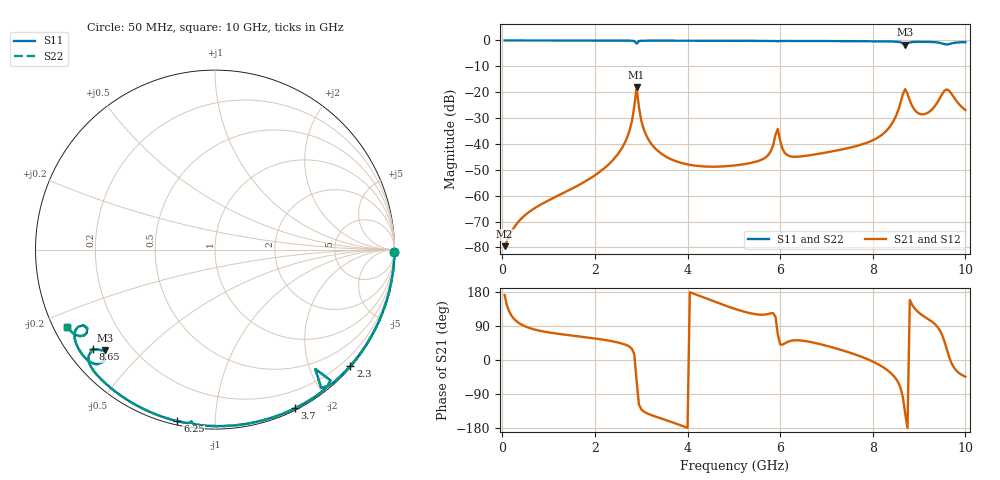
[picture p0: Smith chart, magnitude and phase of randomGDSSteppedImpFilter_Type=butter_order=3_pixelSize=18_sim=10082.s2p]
! freq	dB(S11)	phase(S11)	dB(S12)	phase(S12)
!  dB(S21)	phase(S21)	dB(S22)	phase(S22)
!S-par simulation data
#  GHz  S  DB  R 50
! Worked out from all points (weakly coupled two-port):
!   200 points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, 50 MHz to 10 GHz, reference 50 ohm
!   highest |S21| = -18.17 dB at 2.9 GHz (marker M1); lowest = -79.5 dB at 50 MHz (marker M2)
!   lowest |S11| = -1.6 dB at 8.7 GHz (marker M3), VSWR 10.93, Z = 5.26 - j19.2 ohm
!   |S11| at or under -10 dB: nowhere
!   |S22| runs from -1.6 to 0.0 dB; largest |S21 - S12| = 0
!   S11 on the Smith chart (normalised r, x): 50 MHz: open; 2.3 GHz: 0.03, -2.70; 3.7 GHz: 0.02, -1.62; 6.25 GHz: 0.02, -0.80; 8.65 GHz: 0.07, -0.35; 10 GHz: 0.04, -0.24
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0.05  -0.00 -0.9  -79.51 171.4  -79.51 171.4  -0.00 -0.9
0.5  -0.01 -9.0  -67.38 88.5  -67.38 88.5  -0.01 -9.0
1.75  -0.04 -31.0  -54.89 60.9  -54.89 60.9  -0.04 -31.0
2.3  -0.05 -40.6  -47.86 51.1  -47.86 51.1  -0.05 -40.6
2.7  -0.07 -47.9  -37.30 38.3  -37.30 38.3  -0.07 -47.9
2.8  -0.11 -50.4  -31.14 29.2  -31.14 29.2  -0.11 -50.4
2.9  -1.22 -50.0  -18.17 -54.1  -18.17 -54.1  -1.22 -50.0
3.05  -0.10 -51.8  -34.06 -135.5  -34.06 -135.5  -0.10 -51.8
3.4  -0.08 -58.3  -43.24 -153.1  -43.24 -153.1  -0.08 -58.3
3.7  -0.09 -63.3  -46.32 -165.6  -46.32 -165.6  -0.09 -63.3
5.05  -0.13 -84.6  -48.25 133.9  -48.25 133.9  -0.13 -84.7
5.7  -0.16 -94.5  -45.03 120.3  -45.03 120.3  -0.16 -94.6
5.95  -0.30 -97.8  -34.18 67.5  -34.18 67.5  -0.30 -97.8
6.05  -0.19 -99.3  -41.86 40.4  -41.86 40.4  -0.19 -99.3
6.25  -0.19 -102.4  -44.92 51.2  -44.92 51.2  -0.19 -102.4
6.7  -0.21 -109.0  -44.20 46.4  -44.20 46.4  -0.21 -109.1
8.35  -0.37 -133.8  -33.77 -30.3  -33.77 -30.3  -0.37 -133.8
8.65  -1.13 -140.9  -20.69 -98.7  -20.69 -98.7  -1.12 -140.9
8.7  -1.59 -137.5  -18.82 -140.8  -18.82 -140.8  -1.57 -137.6
9  -0.52 -140.6  -28.28 124.5  -28.28 124.5  -0.52 -140.8
9.6  -1.55 -148.4  -18.91 27.4  -18.91 27.4  -1.57 -148.5
10  -0.64 -152.5  -26.87 -44.1  -26.87 -44.1  -0.65 -152.5
